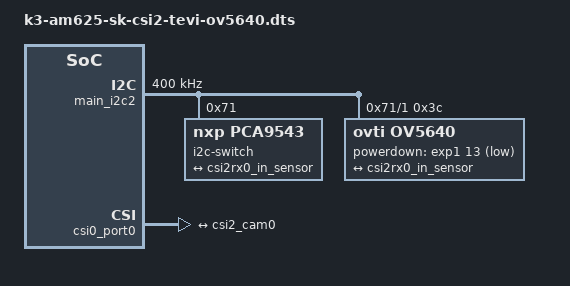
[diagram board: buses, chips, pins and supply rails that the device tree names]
// SPDX-License-Identifier: GPL-2.0
/*
 * Technexion TEVI-OV5640-*-RPI - OV5640 camera module
 * Copyright (C) 2022 Texas Instruments Incorporated - https://www.ti.com/
 */

/dts-v1/;
/plugin/;

#include <dt-bindings/gpio/gpio.h>

/ {
	fragment@101 {
		target-path = "/";

		__overlay__ {
			clk_ov5640_fixed: ov5640-xclk {
				compatible = "fixed-clock";
				#clock-cells = <0>;
				clock-frequency = <24000000>;
			};
		};
	};
};

&main_i2c2 {
	pinctrl-names = "default";
	pinctrl-0 = <&main_i2c2_pins_default>;
	#address-cells = <1>;
	#size-cells = <0>;
	status = "okay";

	clock-frequency = <400000>;

	i2c-switch@71 {
		compatible = "nxp,pca9543";
		#address-cells = <1>;
		#size-cells = <0>;
		reg = <0x71>;

		/* CAM port */
		i2c@1 {
			#address-cells = <1>;
			#size-cells = <0>;
			reg = <1>;

			ov5640: camera@3c {
				compatible = "ovti,ov5640";
				reg = <0x3c>;

				clocks = <&clk_ov5640_fixed>;
				clock-names = "xclk";
				powerdown-gpios = <&exp1 13 GPIO_ACTIVE_LOW>;

				port {
					csi2_cam0: endpoint {
						remote-endpoint = <&csi2rx0_in_sensor>;
						clock-lanes = <0>;
						data-lanes = <1 2>;
					};
				};
			};
		};
	};
};

&csi0_port0 {
	status = "okay";

	csi2rx0_in_sensor: endpoint {
		remote-endpoint = <&csi2_cam0>;
		bus-type = <4>; /* CSI2 DPHY. */
		clock-lanes = <0>;
		data-lanes = <1 2>;
	};
};
